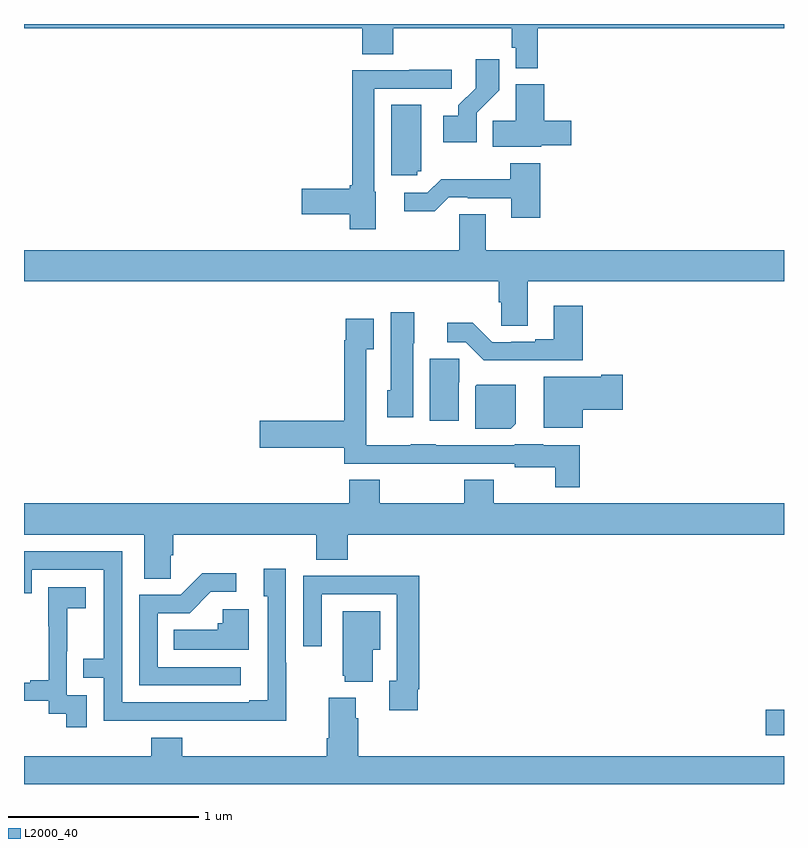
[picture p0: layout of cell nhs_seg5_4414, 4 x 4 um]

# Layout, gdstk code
import gdstk
lib = gdstk.Library(unit=1e-6, precision=1e-09)
def R(c, l, rs):  # rectangles x0, y0, x1, y1
    for r in rs: c.add(gdstk.rectangle(r[:2], r[2:], *l))
def P(c, l, *ps):  # polygons
    for p in ps: c.add(gdstk.Polygon(p, *l))
L2000_40 = (2000, 40)

nhs_seg5_4414 = lib.new_cell('nhs_seg5_4414')
R(nhs_seg5_4414, L2000_40, [(374.904,837.056,375,837.191)])
P(nhs_seg5_4414, L2000_40, [(371,840.776),(372.779,840.776),(372.779,840.64),(372.944,840.64),(372.944,840.776),(373.567,840.776),(373.567,840.675),(373.587,840.675),(373.587,840.566),(373.703,840.566),(373.703,840.776),(375,840.776),(375,840.799),(371,840.799)],
  [(373.383,840.331),(373.502,840.45),(373.502,840.613),(373.377,840.613),(373.377,840.461),(373.286,840.371),(373.286,840.316),(373.206,840.316),(373.206,840.176),(373.383,840.176)],
  [(372.85,839.916),(372.843,839.916),(372.843,840.459),(373.252,840.459),(373.252,840.558),(373.027,840.558),(373.027,840.555),(372.727,840.555),(372.727,839.951),(372.714,839.951),(372.714,839.933),(372.462,839.933),(372.462,839.798),(372.714,839.798),(372.714,839.72),(372.85,839.72)],
  [(373.722,840.161),(373.879,840.161),(373.879,840.291),(373.739,840.291),(373.739,840.481),(373.589,840.481),(373.589,840.29),(373.468,840.29),(373.468,840.152),(373.722,840.152)],
  [(373.071,840.024),(373.09,840.024),(373.09,840.373),(372.932,840.373),(372.932,840.003),(373.071,840.003)],
  [(373.718,840.067),(373.558,840.067),(373.558,839.983),(373.195,839.983),(373.122,839.91),(373.002,839.91),(373.002,839.813),(373.163,839.813),(373.236,839.886),(373.336,839.886),(373.336,839.883),(373.565,839.883),(373.565,839.778),(373.718,839.778)],
  [(373.651,839.444),(375,839.444),(375,839.608),(373.429,839.608),(373.429,839.798),(373.29,839.798),(373.29,839.608),(371,839.608),(371,839.444),(373.499,839.444),(373.499,839.334),(373.512,839.334),(373.512,839.212),(373.651,839.212)],
  [(373.94,839.317),(373.787,839.317),(373.787,839.14),(373.691,839.14),(373.691,839.127),(373.564,839.127),(373.564,839.124),(373.464,839.124),(373.362,839.227),(373.227,839.227),(373.227,839.124),(373.326,839.124),(373.421,839.03),(373.94,839.03)],
  [(373.048,839.118),(373.054,839.118),(373.054,839.281),(372.929,839.281),(372.929,838.872),(372.911,838.872),(372.911,838.728),(373.048,838.728)],
  [(373.925,838.582),(373.734,838.582),(373.734,838.588),(373.584,838.588),(373.584,838.581),(373.167,838.581),(373.167,838.588),(373.035,838.588),(373.035,838.582),(372.801,838.582),(372.801,839.087),(372.841,839.087),(372.841,839.248),(372.693,839.248),(372.693,839.135),(372.685,839.135),(372.685,838.712),(372.24,838.712),(372.24,838.57),(372.685,838.57),(372.685,838.485),(372.935,838.485),(372.935,838.484),(373.167,838.484),(373.167,838.485),(373.584,838.485),(373.584,838.466),(373.797,838.466),(373.797,838.361),(373.925,838.361)],
  [(373.288,838.914),(373.292,838.914),(373.292,839.037),(373.136,839.037),(373.136,838.71),(373.288,838.71)],
  [(373.942,838.769),(374.152,838.769),(374.152,838.952),(374.039,838.952),(374.039,838.942),(373.736,838.942),(373.736,838.673),(373.942,838.673)],
  [(373.588,838.696),(373.588,838.9),(373.384,838.9),(373.376,838.892),(373.376,838.67),(373.562,838.67)],
  [(371.772,838.003),(371.786,838.003),(371.786,838.112),(372.539,838.112),(372.539,837.979),(372.704,837.979),(372.704,838.112),(375,838.112),(375,838.276),(373.473,838.276),(373.473,838.4),(373.318,838.4),(373.318,838.276),(372.873,838.276),(372.873,838.4),(372.713,838.4),(372.713,838.276),(371,838.276),(371,838.112),(371.633,838.112),(371.633,837.88),(371.772,837.88)],
  [(372.381,837.437),(372.378,837.437),(372.378,837.931),(372.263,837.931),(372.263,837.786),(372.282,837.786),(372.282,837.241),(372.185,837.241),(372.185,837.228),(371.517,837.228),(371.517,838.023),(371,838.023),(371,837.804),(371.04,837.804),(371.04,837.927),(371.421,837.927),(371.421,837.458),(371.311,837.458),(371.311,837.357),(371.421,837.357),(371.421,837.132),(371.917,837.132),(371.917,837.131),(372.381,837.131)],
  [(372.142,837.414),(371.703,837.414),(371.703,837.699),(371.872,837.699),(371.983,837.81),(372.118,837.81),(372.118,837.908),(371.939,837.908),(371.826,837.795),(371.607,837.795),(371.607,837.318),(372.142,837.318)],
  [(373.072,837.298),(373.079,837.298),(373.079,837.896),(372.787,837.896),(372.787,837.894),(372.471,837.894),(372.471,837.525),(372.567,837.525),(372.567,837.798),(372.963,837.798),(372.963,837.342),(372.923,837.342),(372.923,837.186),(373.072,837.186)],
  [(371.331,837.267),(371.226,837.267),(371.226,837.497),(371.228,837.497),(371.228,837.725),(371.326,837.725),(371.326,837.835),(371.128,837.835),(371.128,837.629),(371.129,837.629),(371.129,837.346),(371.033,837.346),(371.033,837.333),(371,837.333),(371,837.237),(371.13,837.237),(371.13,837.169),(371.223,837.169),(371.223,837.099),(371.331,837.099)],
  [(372.184,837.718),(372.045,837.718),(372.045,837.645),(372.019,837.645),(372.019,837.61),(371.788,837.61),(371.788,837.506),(372.184,837.506)],
  [(372.835,837.506),(372.874,837.506),(372.874,837.709),(372.677,837.709),(372.677,837.369),(372.689,837.369),(372.689,837.338),(372.835,837.338)],
  [(375,836.944),(372.758,836.944),(372.758,837.146),(372.745,837.146),(372.745,837.253),(372.605,837.253),(372.605,837.04),(372.593,837.04),(372.593,836.944),(371.834,836.944),(371.834,837.043),(371.669,837.043),(371.669,836.944),(371,836.944),(371,836.799),(375,836.799)])

lib.write_gds('nhs_seg5_4414.gds')
